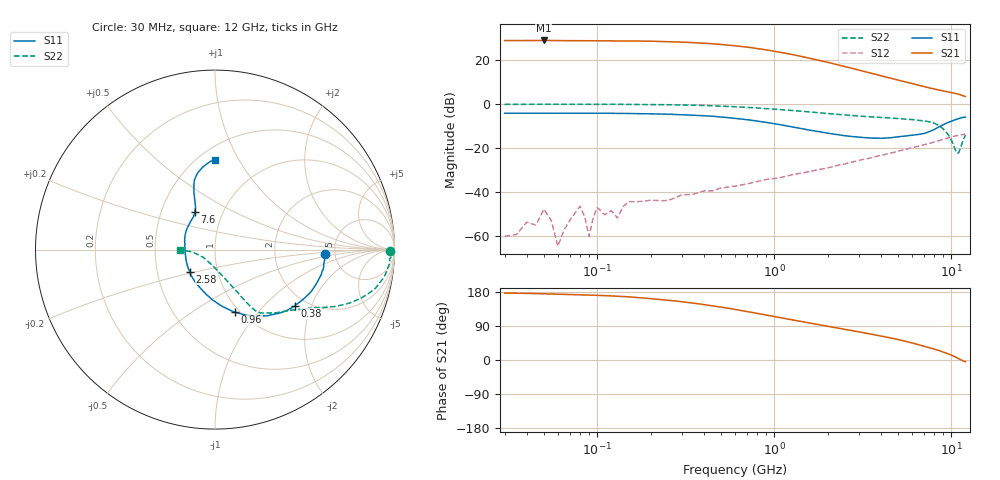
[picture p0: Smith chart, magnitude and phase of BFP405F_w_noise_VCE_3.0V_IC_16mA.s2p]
! Infineon Technologies  Discrete & RF Semiconductors
! BFP405F
! VCE =  3.0 V,  IC =  16 mA
! Common Emitter S-Parameters:  Nov 2015
# GHz  S  MA  R  50
!  f  S11  S21  S12  S22
! GHz  MAG  ANG  MAG  ANG  MAG  ANG  MAG  ANG
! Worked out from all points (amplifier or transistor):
!   239 points, 30 MHz to 12 GHz, reference 50 ohm
!   highest |S21| = 28.7 dB at 50 MHz (marker M1)
!   |S21| within 3 dB of that: start of sweep to 699.3 MHz
!   unconditionally stable (mu >= 1): start of sweep to 30.29 MHz; 58.11 MHz to 63.17 MHz; 1.846 GHz to end of sweep
!   at 300 MHz: K = 0.18, MSG = 34.6 dB, |S12| = -41.2 dB
!   at 1.88 GHz: K = 1.01, MAG = 23.7 dB, |S12| = -29.4 dB
!   at 12 GHz: K = 1.37, MAG = 4.9 dB, |S12| = -13.7 dB
!   lowest NFmin = 2.03 dB at 450 MHz
!   S11 on the Smith chart (normalised r, x): 30 MHz: 4.14, -0.33; 380 MHz: 1.74, -1.54; 960 MHz: 0.95, -0.76; 2.58 GHz: 0.73, -0.19; 7.6 GHz: 0.74, +0.33; 12 GHz: 0.60, +0.80
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0.03  0.6131 -2.3  27.04 176.5  0.001 47.6  0.9727 -0.3
0.05  0.6126 -5.0  27.22 174.7  0.0041 25.9  0.9814 -1.4
0.06  0.6137 -5.5  26.97 174.0  0.0006 8.8  0.9761 -1.3
0.08  0.6114 -7.7  26.79 172.0  0.0048 79.6  0.9815 -2.6
0.085  0.6122 -8.1  26.83 171.8  0.0028 74.4  0.9786 -2.7
0.09  0.613 -8.5  26.87 171.6  0.001 48.9  0.9757 -2.9
0.1  0.6131 -9.6  26.71 170.8  0.0045 66.5  0.9731 -3.4
0.13  0.6091 -12.7  26.59 168.1  0.0026 57.3  0.976 -4.6
0.145  0.6059 -14.1  26.58 167.2  0.0053 103.4  0.973 -5.0
0.24  0.5855 -23.1  25.67 158.8  0.0064 73.4  0.9574 -8.6
0.3  0.5674 -28.4  25.01 153.8  0.0087 88.5  0.9431 -10.6
0.38  0.5435 -35.1  23.88 147.8  0.01 74.1  0.9235 -13.0
0.6  0.47 -51.6  20.63 133.3  0.0137 74.5  0.86 -18.2
0.7  0.4384 -57.7  19.26 127.9  0.0154 73.4  0.8322 -20.0
0.96  0.3656 -72.3  15.97 116.2  0.02 70.8  0.7679 -23.8
1.3  0.2936 -88.8  12.75 104.7  0.0255 70.7  0.7011 -27.2
1.64  0.2477 -103.3  10.46 96.3  0.0303 70.9  0.6501 -29.9
2.58  0.1868 -139.0  6.772 79.8  0.0451 68.2  0.5549 -37.3
4.5  0.1706 170.4  3.831 58.7  0.0764 63.1  0.4798 -47.4
7.6  0.2395 117.8  2.27 31.9  0.1288 50.1  0.3886 -57.4
10.8  0.4538 100.1  1.678 5.4  0.1917 31.6  0.0759 -123.9
12  0.5005 90.1  1.466 -4.6  0.2066 24.6  0.1955 -179.1
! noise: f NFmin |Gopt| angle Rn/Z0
0.45  2.03  0.08  1  0.37
0.9  2.05  0.07  3  0.39
1.5  2.1  0.06  5  0.16
1.9  2.15  0.05  6  0.27
2.4  2.3  0.02  -8  0.38
3  2.38  0.02  -67  0.22
3.5  2.44  0.03  -99  0.35
4.5  2.65  0.09  -97  0.43
5.5  2.93  0.18  -88  0.16
